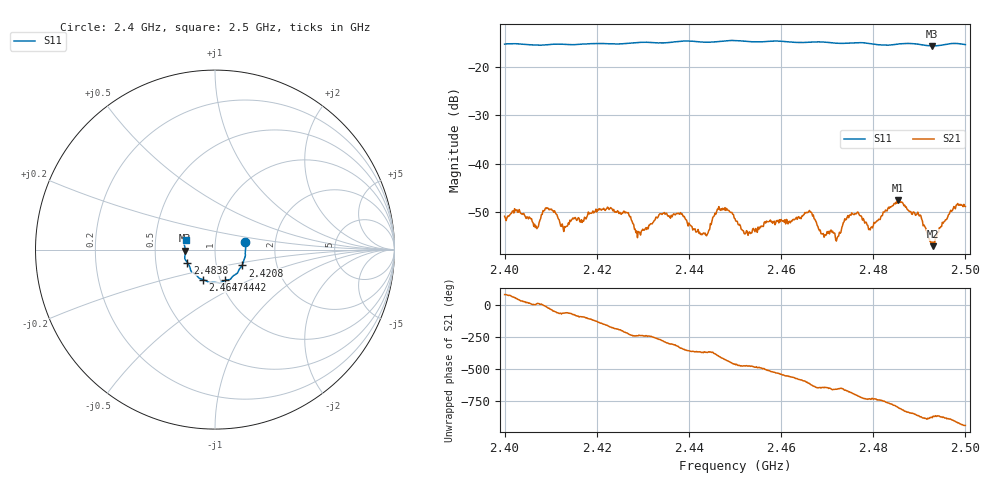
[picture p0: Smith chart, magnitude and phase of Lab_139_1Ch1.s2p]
# Hz S RI R 50
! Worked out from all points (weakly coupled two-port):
!   601 points, 2.4 GHz to 2.5 GHz, reference 50 ohm
!   highest |S21| = -47.60 dB at 2.4853 GHz (marker M1); lowest = -57.1 dB at 2.493 GHz (marker M2)
!   lowest |S11| = -15.6 dB at 2.4928 GHz (marker M3), VSWR 1.40, Z = 35.8 - j0.401 ohm
!   |S11| at or under -10 dB: start of sweep to end of sweep
!   S12 and S22 are empty: the file has one direction only
!   S11 on the Smith chart (normalised r, x): 2.4 GHz: 1.40, +0.12; 2.4208 GHz: 1.33, -0.24; 2.4442 GHz: 1.05, -0.37; 2.4647 GHz: 0.83, -0.29; 2.4838 GHz: 0.73, -0.11; 2.5 GHz: 0.72, +0.08
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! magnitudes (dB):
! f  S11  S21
! 2.4 GHz  -15.2  -50.9
! 2.4167 GHz  -15.3  -51.6
! 2.4208 GHz  -15.1  -49.4
! 2.4263 GHz  -15.1  -50.1
! 2.429 GHz  -14.9  -54.1
! 2.4333 GHz  -15.0  -51.0
! 2.4442 GHz  -14.9  -54.3
! 2.4465 GHz  -14.7  -48.9
! 2.45 GHz  -14.5  -51.4
! 2.4532 GHz  -14.7  -54.1
! 2.4647 GHz  -14.9  -50.9
! 2.4667 GHz  -14.8  -50.2
! 2.4723 GHz  -15.1  -55.1
! 2.475 GHz  -15.0  -50.6
! 2.4795 GHz  -15.1  -53.2
! 2.4833 GHz  -15.4  -49.0
! 2.4838 GHz  -15.4  -49.0
! 2.4853 GHz  -15.2  -47.6
! 2.49 GHz  -15.3  -50.8
! 2.4928 GHz  -15.6  -56.3
! 2.493 GHz  -15.6  -57.1
! 2.5 GHz  -15.3  -48.9
